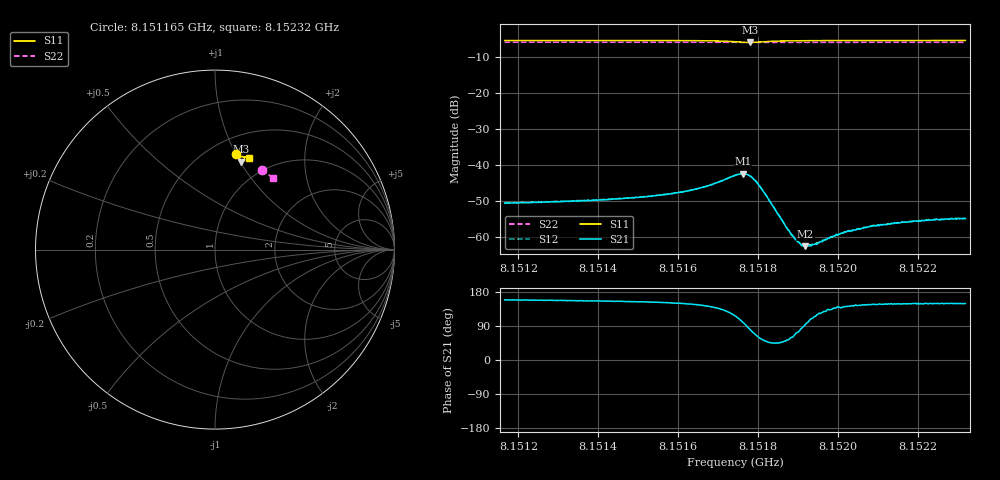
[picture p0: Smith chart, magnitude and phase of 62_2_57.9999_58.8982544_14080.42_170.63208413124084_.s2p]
#  HZ  S  RI  R  50.00
! Rohde & Schwarz Vector Network Analyzer
! Rohde-Schwarz,ZNB20-2Port,1311601062101988,3.16
! Created: UTC 3/21/2024, 12:53:02 AM
! freq[Hz]  re:S11  im:S11  re:S21  im:S21  re:S12  im:S12  re:S22  im:S22
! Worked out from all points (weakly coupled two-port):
!   401 points, 8.151165 GHz to 8.15232 GHz, reference 50 ohm
!   highest |S21| = -42.33 dB at 8.151763 GHz (marker M1); lowest = -62.5 dB at 8.151919 GHz (marker M2)
!   lowest |S11| = -5.8 dB at 8.15178 GHz (marker M3), VSWR 3.09, Z = 38.1 + j50.5 ohm
!   |S11| at or under -10 dB: nowhere
!   |S22| runs from -5.8 to -5.8 dB; largest |S21 - S12| = 0.00015
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8.1511654e9  0.1164 0.5306  -0.00276 0.00108  -0.0028 0.00113  0.2622 0.4424
8.1513588e9  0.1308 0.5274  -0.00297 0.0013  -0.00296 0.00135  0.2727 0.4355
8.1514541e9  0.1383 0.5254  -0.00309 0.00146  -0.00312 0.00153  0.2778 0.4321
8.1515522e9  0.1466 0.5227  -0.0034 0.00178  -0.00337 0.00185  0.2831 0.4284
8.151607e9  0.152 0.5205  -0.00363 0.00216  -0.00368 0.00221  0.2859 0.4265
8.1516532e9  0.1571 0.5171  -0.00394 0.00272  -0.00395 0.0028  0.2886 0.4246
8.1516965e9  0.1625 0.5112  -0.00421 0.00385  -0.00415 0.00396  0.2909 0.4228
8.1517427e9  0.1636 0.497  -0.00326 0.00649  -0.00322 0.00658  0.2928 0.4205
8.1517629e9  0.1563 0.4897  -0.00123 0.00754  -0.00109 0.0076  0.2935 0.4196
8.1517802e9  0.1454 0.4894  0.00116 0.00701  0.0013 0.00704  0.294 0.4192
8.1517947e9  0.1388 0.4952  0.00243 0.00552  0.00255 0.0055  0.2947 0.4189
8.1518091e9  0.1367 0.5025  0.00272 0.00388  0.00278 0.00385  0.2954 0.4187
8.1518697e9  0.1467 0.5166  0.00092 0.0011  0.000926 0.00112  0.299 0.4168
8.151887e9  0.1496 0.5174  0.000525 0.000911  0.000526 0.000927  0.3 0.4163
8.1519072e9  0.1527 0.5182  0.000116 0.000787  0.000154 0.000793  0.3011 0.4154
8.1519188e9  0.1543 0.5181  -4.27e-05 0.000753  -5.05e-05 0.000779  0.3017 0.4151
8.1519361e9  0.1566 0.5183  -0.000271 0.000754  -0.000256 0.000738  0.3026 0.4144
8.1520198e9  0.1652 0.5172  -0.000927 0.00075  -0.000924 0.000753  0.3069 0.411
8.1520833e9  0.1707 0.5162  -0.00117 0.000788  -0.00118 0.000794  0.3102 0.4086
8.1521295e9  0.1745 0.5154  -0.0013 0.000821  -0.00129 0.00084  0.3127 0.4066
8.152245e9  0.1832 0.5127  -0.00153 0.000903  -0.00147 0.000936  0.3184 0.4019
8.15232e9  0.1885 0.511  -0.00156 0.000936  -0.0016 0.00094  0.3221 0.3988
